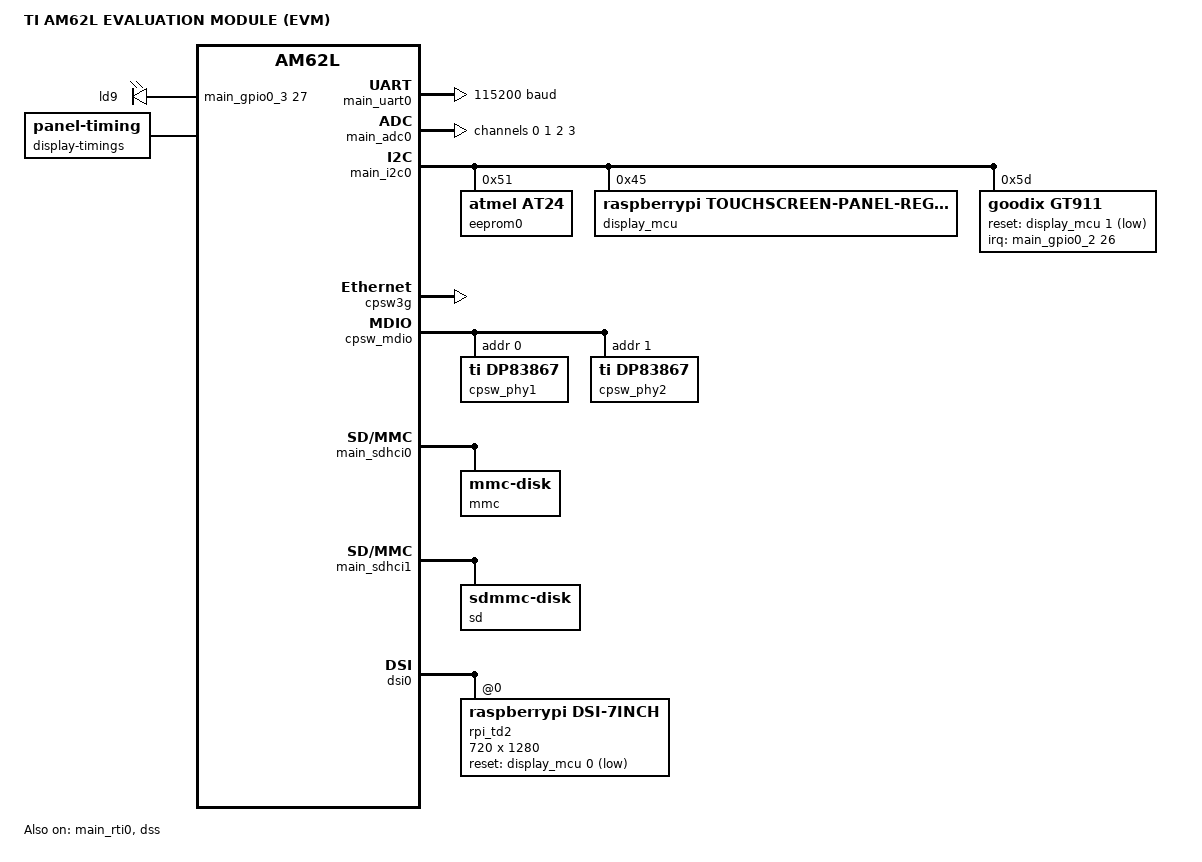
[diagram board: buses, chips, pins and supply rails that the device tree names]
/*
 * Copyright (C) 2025 Texas Instruments Incorporated - https://www.ti.com/
 *
 * SPDX-License-Identifier: Apache-2.0
 */

/dts-v1/;

#include <ti/am62l3_a53.dtsi>
#include "am62l_evm_am62l3_a53-pinctrl.dtsi"
#include <zephyr/dt-bindings/mipi_dsi/mipi_dsi.h>

/ {
	model = "TI AM62L EVALUATION MODULE (EVM)";
	compatible = "ti,am62l_evm";

	chosen {
		zephyr,console = &main_uart0;
		zephyr,shell-uart = &main_uart0;
		zephyr,sram = &ddr0;
		zephyr,display = &dss;
		zephyr,touch = &gt911;
	};

	aliases {
		adc0 = &main_adc0;
		led0 = &ld9;
		watchdog0 = &main_rti0;
		sdhc0 = &main_sdhci0;
		sdhc1 = &main_sdhci1;
		sdhc2 = &main_sdhci2;
		mipi-dsi = &dsi0;
	};

	leds: leds {
		compatible = "gpio-leds";

		ld9: led_0 {
			gpios = <&main_gpio0_3 27 GPIO_ACTIVE_HIGH>;
		};
	};

	cpus {
		cpu@0 {
			status = "okay";
		};

		cpu@1 {
			status = "okay";
		};
	};

	ddr0: memory@82000000 {
		reg = <0x82000000 (DT_SIZE_G(2) - DT_SIZE_M(32))>;
	};
};

&main_uart0 {
	current-speed = <115200>;
	pinctrl-0 = <&uart0_rx_default>,
		    <&uart0_tx_default>;
	pinctrl-names = "default";
	status = "okay";
};

&main_adc0 {
	ti,fifo = <0>;
	pinctrl-0 = <&adc0_ext_trigger0>,
		    <&adc0_ext_trigger1>;
	pinctrl-names = "default";
	status = "okay";

	channel@0 {
		reg = <0>;
		ti,open-delay = <0>;
		zephyr,gain = "ADC_GAIN_1";
		zephyr,reference = "ADC_REF_VDD_1";
		zephyr,acquisition-time = <0>;
		zephyr,resolution = <12>;
		zephyr,oversampling = <4>;
		zephyr,vref-mv = <1800>;
	};

	channel@1 {
		reg = <1>;
		ti,open-delay = <0>;
		zephyr,gain = "ADC_GAIN_1";
		zephyr,reference = "ADC_REF_VDD_1";
		zephyr,acquisition-time = <0>;
		zephyr,resolution = <12>;
		zephyr,oversampling = <4>;
		zephyr,vref-mv = <1800>;
	};

	channel@2 {
		reg = <2>;
		ti,open-delay = <0>;
		zephyr,gain = "ADC_GAIN_1";
		zephyr,reference = "ADC_REF_VDD_1";
		zephyr,acquisition-time = <0>;
		zephyr,resolution = <12>;
		zephyr,oversampling = <4>;
		zephyr,vref-mv = <1800>;
	};

	channel@3 {
		reg = <3>;
		ti,open-delay = <0>;
		zephyr,gain = "ADC_GAIN_1";
		zephyr,reference = "ADC_REF_VDD_1";
		zephyr,acquisition-time = <0>;
		zephyr,resolution = <12>;
		zephyr,oversampling = <4>;
		zephyr,vref-mv = <1800>;
	};
};

&main_gpio0_3 {
	pinctrl-0 = <&main_gpio0_3_led>;
	pinctrl-names = "default";
	status = "disabled";
};

&main_i2c0 {
	pinctrl-0 = <&main_i2c0_scl &main_i2c0_sda>;
	pinctrl-names = "default";
	status = "okay";

	eeprom0: eeprom@51 {
		compatible = "atmel,at24";
		reg = <0x51>;
		address-width = <16>;
		pagesize = <128>;
		size = <65536>;
		timeout = <5>;
	};

	display_mcu: display_mcu@45 {
		compatible = "raspberrypi,touchscreen-panel-regulator-v2";
		reg = <0x45>;
		gpio-controller;
		#gpio-cells = <2>;
	};

	/*
	 * GT911 touch controller on the display daughter card.  Per the
	 * official Raspberry Pi Touch Display 2 overlay
	 * (vc4-kms-dsi-ili9881-7inch-overlay.dts), reset is not a GPIO line
	 * at all -- it is power-cycling the touch AVDD28 rail via
	 * display_mcu pin 1 (same chip as the panel reset on pin 0), and
	 * INT is not routed to the host, so GT911 falls back to touch
	 * detection via I2C polling instead of interrupts.  Uses
	 * GPIO_ACTIVE_LOW like the panel's own reset on pin 0 -- gt911_init()
	 * asserts then deasserts the line, and must end up deasserted
	 * (powered on) before it probes the device over I2C.
	 *
	 * input_gt911.c requires irq-gpios unconditionally (it also drives
	 * the pin during the address-strap sequence), so it is pointed at
	 * GPIO0_90 -- the board's spare "User Interrupt" pin, confirmed
	 * unused elsewhere on this schematic -- purely as a placeholder;
	 * nothing is physically wired to it.
	 */
	gt911: gt911@5d {
		compatible = "goodix,gt911";
		reg = <0x5d>;
		alt-addr = <0x14>;
		reset-gpios = <&display_mcu 1 GPIO_ACTIVE_LOW>;
		irq-gpios = <&main_gpio0_2 26 GPIO_ACTIVE_HIGH>;
		screen-width = <720>;
		screen-height = <1280>;
	};
};

&main_gpio0_2 {
	pinctrl-0 = <&main_spi0_d0>;
	pinctrl-names = "default";
	status = "okay";
};

&main_i2c1 {
	pinctrl-0 = <&main_i2c1_scl &main_i2c1_sda>;
	pinctrl-names = "default";
	status = "disabled";

	gpio_expander: tca6424a@22 {
		compatible = "ti,tca6424a";
		reg = <0x22>;
		gpio-controller;
		#gpio-cells = <2>;
		ngpios = <24>;
		status = "disabled";
	};

	sii9022a: sii9022a@3b {
		compatible = "sil,sii9022a";
		reg = <0x3b>;
		/* HDMI RGB output; pixel clock latched on falling edge */
		output-format = <0>;
		clk-falling;
		display-controller = <&dss>;
		status = "disabled";
	};
};

&main_rti0 {
	status = "okay";
};

/* &dss {
	pinctrl-0 = <&dss_vout0_data0>,
			<&dss_vout0_data1>,
			<&dss_vout0_data2>,
			<&dss_vout0_data3>,
			<&dss_vout0_data4>,
			<&dss_vout0_data5>,
			<&dss_vout0_data6>,
			<&dss_vout0_data7>,
			<&dss_vout0_data8>,
			<&dss_vout0_data9>,
			<&dss_vout0_data10>,
			<&dss_vout0_data11>,
			<&dss_vout0_data12>,
			<&dss_vout0_data13>,
			<&dss_vout0_data14>,
			<&dss_vout0_data15>,
			<&dss_vout0_data16>,
			<&dss_vout0_data17>,
			<&dss_vout0_data18>,
			<&dss_vout0_data19>,
			<&dss_vout0_data20>,
			<&dss_vout0_data21>,
			<&dss_vout0_data22>,
			<&dss_vout0_data23>,
			<&dss_vout0_de>,
			<&dss_vout0_extpclkin>,
			<&dss_vout0_hsync>,
			<&dss_vout0_pclk>,
			<&dss_vout0_vsync>;
	pinctrl-names = "default";

	data-width = <24>;
	height = <1080>;
	width = <1920>;

	display-timings {
		compatible = "zephyr,panel-timing";
		clock-frequency = <148500000>;
		hfront-porch = <88>;
		hback-porch = <148>;
		hsync-len = <44>;
		vfront-porch = <4>;
		vback-porch = <36>;
		vsync-len = <5>;
		hsync-active = <1>;
		vsync-active = <1>;
		de-active = <1>;
		pixelclk-active = <0>;
	};

	status = "okay";
}; */

&pktdma {
	status = "okay";
};

&cpsw3g {
	status = "okay";
};

&cpsw_mdio {
	status = "okay";

	cpsw_phy1: ethernet-phy@0 {
		compatible = "ti,dp83867";
		reg = <0>;
		ti,interface-type = "rgmii-id";
		ti,rx-internal-delay = <7>; /* 2 ns delay */
		ti,tx-internal-delay = <0>; /* Delay added by MAC */
	};

	cpsw_phy2: ethernet-phy@1 {
		compatible = "ti,dp83867";
		reg = <1>;
		ti,interface-type = "rgmii-id";
		ti,rx-internal-delay = <7>; /* 2 ns delay */
		ti,tx-internal-delay = <0>; /* Delay added by MAC */
	};
};

/* eMMC */
&main_sdhci0 {
	pinctrl-0 = <&mmc0_cmd
		     &mmc0_clk
		     &mmc0_dat0
		     &mmc0_dat1
		     &mmc0_dat2
		     &mmc0_dat3
		     &mmc0_dat4
		     &mmc0_dat5
		     &mmc0_dat6
		     &mmc0_dat7>;
	pinctrl-names = "default";
	status = "okay";

	mmc {
		compatible = "zephyr,mmc-disk";
		bus-width = <8>;
		disk-name = "emmc";
	};
};

/* SD */
&main_sdhci1 {
	pinctrl-0 = <&mmc1_cmd
		     &mmc1_clk
		     &mmc1_dat0
		     &mmc1_dat1
		     &mmc1_dat2
		     &mmc1_dat3
		     &mmc1_sdcd>;
	pinctrl-names = "default";
	status = "okay";

	sd {
		compatible = "zephyr,sdmmc-disk";
		disk-name = "sd";
	};
};

/* SDIO */
&main_sdhci2 {
	pinctrl-0 = <&mmc2_cmd
		     &mmc2_clk
		     &mmc2_clklb
		     &mmc2_dat0
		     &mmc2_dat1
		     &mmc2_dat2
		     &mmc2_dat3>;
	pinctrl-names = "default";
	ti,fails-without-test-cd;
	status = "disabled";
};

/* &dss {
	pinctrl-0 = <&dss_vout0_data0>,
		    <&dss_vout0_data1>,
		    <&dss_vout0_data2>,
		    <&dss_vout0_data3>,
		    <&dss_vout0_data4>,
		    <&dss_vout0_data6>,
		    <&dss_vout0_data7>,
		    <&dss_vout0_data8>,
		    <&dss_vout0_data9>,
		    <&dss_vout0_data10>,
		    <&dss_vout0_data11>,
		    <&dss_vout0_data12>,
		    <&dss_vout0_data13>,
		    <&dss_vout0_data14>,
		    <&dss_vout0_data15>,
		    <&dss_vout0_data16>,
		    <&dss_vout0_data17>,
		    <&dss_vout0_data18>,
		    <&dss_vout0_data19>,
		    <&dss_vout0_data20>,
		    <&dss_vout0_data21>,
		    <&dss_vout0_data22>,
		    <&dss_vout0_data23>,
		    <&dss_vout0_de>,
		    <&dss_vout0_extpclkin>,
		    <&dss_vout0_hsync>,
		    <&dss_vout0_pclk>,
		    <&dss_vout0_vsync>;
	pinctrl-names = "default";

	data-width = <24>;
	height = <1080>;
	width = <1920>;

	display-timings {
		compatible = "zephyr,panel-timing";
		clock-frequency = <148500000>;
		hfront-porch    = <88>;
		hback-porch     = <148>;
		hsync-len       = <44>;
		vfront-porch    = <4>;
		vback-porch     = <36>;
		vsync-len       = <5>;
		hsync-active    = <1>;
		vsync-active    = <1>;
		de-active       = <1>;
		pixelclk-active = <0>;
	};

	status = "okay";
}; */

&dss {
	data-width = <24>;
	height = <1280>;
	width  = <720>;

	display-timings {
		compatible = "zephyr,panel-timing";
		clock-frequency = <83330000>;
		hfront-porch    = <239>;
		hback-porch     = <50>;
		hsync-len       = <33>;
		vfront-porch    = <20>;
		vback-porch     = <30>;
		vsync-len       = <2>;
		hsync-active    = <0>;
		vsync-active    = <0>;
		de-active       = <1>;
		pixelclk-active = <0>;
	};

	status = "okay";
};

&dsi0 {
	status = "okay";
	data-lanes = <2>;

	rpi_td2: panel@0 {
		compatible = "raspberrypi,dsi-7inch";
		reg = <0>;
		data-lanes = <2>;
		pixel-format = <MIPI_DSI_PIXFMT_RGB888>;
		reset-gpios = <&display_mcu 0 GPIO_ACTIVE_LOW>;
		width = <720>;
		height = <1280>;
		status = "okay";
	};
};
